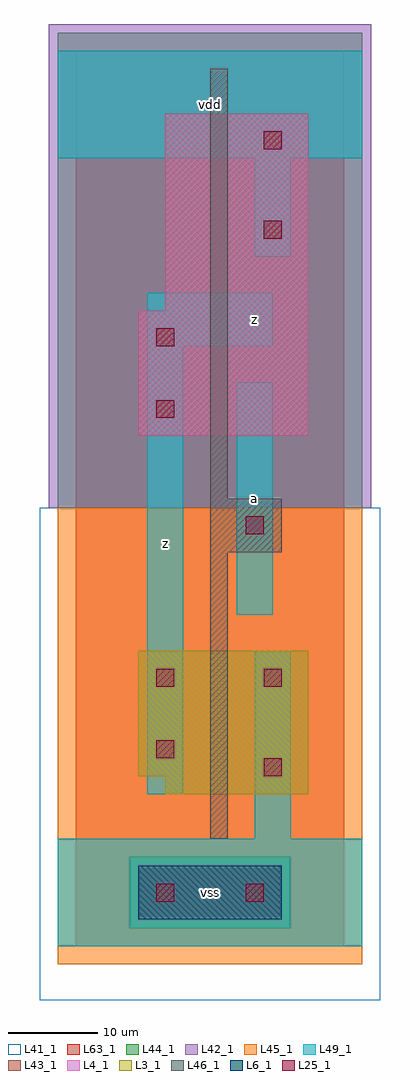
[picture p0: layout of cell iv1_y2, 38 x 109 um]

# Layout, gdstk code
import gdstk
lib = gdstk.Library(unit=1e-6, precision=1e-09)
def R(c, l, rs):  # rectangles x0, y0, x1, y1
    for r in rs: c.add(gdstk.rectangle(r[:2], r[2:], *l))
L3_1 = (3, 1)
L4_1 = (4, 1)
L6_1 = (6, 1)
L25_1 = (25, 1)
L41_1 = (41, 1)
L42_1 = (42, 1)
L43_1 = (43, 1)
L44_1 = (44, 1)
L45_1 = (45, 1)
L46_1 = (46, 1)
L49_1 = (49, 1)
L63_1 = (63, 1)

iv1_y2 = lib.new_cell('iv1_y2')
R(iv1_y2, L3_1, [(10,17,26,19), (7,19,26,33)])
R(iv1_y2, L4_1, [(7,57,26,71), (10,71,26,93)])
R(iv1_y2, L6_1, [(7,3,23,9)])
R(iv1_y2, L25_1, [(9,5,11,7), (19,5,21,7), (21,19,23,21), (9,21,11,23), (9,29,11,31), (21,29,23,31), (19,46,21,48), (9,59,11,61), (9,67,11,69), (21,79,23,81), (21,89,23,91)])
R(iv1_y2, L41_1, [(-4,-6,34,49), (-3,-3,33,49)])
R(iv1_y2, L42_1, [(-3,49,33,103)])
R(iv1_y2, L43_1, [(7,3,23,9), (10,17,26,19), (7,19,26,33), (7,57,26,71), (10,71,26,93)])
R(iv1_y2, L44_1, [(6,2,24,10), (-2,49,32,102)])
R(iv1_y2, L45_1, [(-2,-2,32,2), (-2,2,6,10), (24,2,32,10), (-2,10,32,49)])
R(iv1_y2, L46_1, [(15,12,17,44), (15,44,23,50), (15,50,17,98)])
R(iv1_y2, L49_1, [(-2,0,32,12), (20,12,24,33), (8,17,12,67), (18,37,22,63), (8,67,22,73), (20,77,24,88), (-2,88,32,100)])
R(iv1_y2, L63_1, [(0,0,30,100)])
iv1_y2.add(gdstk.Label('z', (10,45), layer=49, texttype=1))
iv1_y2.add(gdstk.Label('z', (10,45), layer=49, texttype=1))
iv1_y2.add(gdstk.Label('vss', (15,6), layer=49, texttype=1))
iv1_y2.add(gdstk.Label('vss', (15,6), layer=49, texttype=1))
iv1_y2.add(gdstk.Label('a', (20,50), layer=49, texttype=1))
iv1_y2.add(gdstk.Label('a', (20,50), layer=49, texttype=1))
iv1_y2.add(gdstk.Label('z', (20,70), layer=49, texttype=1))
iv1_y2.add(gdstk.Label('z', (20,70), layer=49, texttype=1))
iv1_y2.add(gdstk.Label('vdd', (15,94), layer=49, texttype=1))
iv1_y2.add(gdstk.Label('vdd', (15,94), layer=49, texttype=1))

lib.write_gds('iv1_y2.gds')
